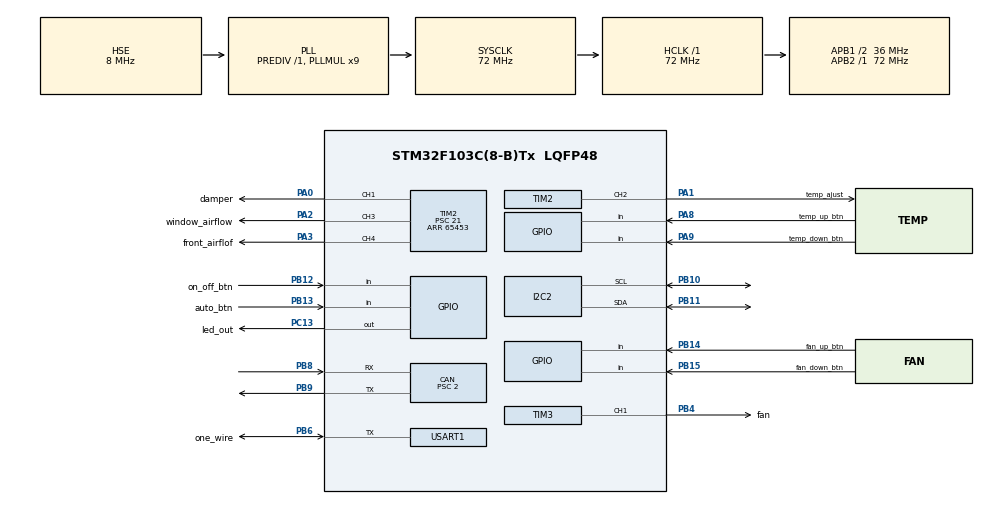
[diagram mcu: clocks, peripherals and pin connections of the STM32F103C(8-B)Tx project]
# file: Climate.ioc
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CAN.BS1=CAN_BS1_15TQ
CAN.BS2=CAN_BS2_2TQ
CAN.CalculateBaudRate=1000000
CAN.CalculateTimeBit=1000
CAN.CalculateTimeQuantum=55.55555555555556
CAN.Prescaler=2
FREERTOS.INCLUDE_uxTaskPriorityGet=0
FREERTOS.INCLUDE_vTaskDelete=0
FREERTOS.INCLUDE_xTaskResumeFromISR=1
FREERTOS.MEMORY_ALLOCATION=0
FREERTOS.Tasks01=defaultTask,0,128,ProctDefaultTask,Default,NULL,Dynamic,NULL,NULL;Display,0,256,ProctDisplay,Default,NULL,Dynamic,NULL,NULL;AnalogRead,0,128,ProctAnalogRead,Default,NULL,Dynamic,NULL,NULL;DigitalRead,0,128,ProctDigitalRead,Default,NULL,Dynamic,NULL,NULL;ButtonRead,0,128,ProctButtonRead,Default,NULL,Dynamic,NULL,NULL;Outputs,0,128,ProctOutputs,Default,NULL,Dynamic,NULL,NULL;IdleTask,0,256,ProctIdle,Default,NULL,Dynamic,NULL,NULL;Can,0,128,ProctCan,Default,NULL,Dynamic,NULL,NULL
FREERTOS.configGENERATE_RUN_TIME_STATS=1
FREERTOS.configMINIMAL_STACK_SIZE=64
FREERTOS.configTOTAL_HEAP_SIZE=10240
FREERTOS.configUSE_IDLE_HOOK=1
FREERTOS.configUSE_STATS_FORMATTING_FUNCTIONS=1
FREERTOS.configUSE_TRACE_FACILITY=1
I2C2.I2C_Mode=I2C_Fast
Mcu.Family=STM32F1
Mcu.Name=STM32F103C(8-B)Tx
Mcu.Package=LQFP48
NVIC.PriorityGroup=NVIC_PRIORITYGROUP_4
NVIC.TIM2_IRQn=true\:5\:0\:false\:false\:true\:true\:true\:true\:true
NVIC.TIM3_IRQn=true\:5\:0\:false\:false\:true\:true\:true\:true\:true
NVIC.TIM4_IRQn=true\:15\:0\:false\:false\:true\:false\:false\:true\:true
NVIC.TimeBase=TIM4_IRQn
NVIC.TimeBaseIP=TIM4
NVIC.USART1_IRQn=true\:5\:0\:false\:false\:true\:true\:true\:true\:true
NVIC.USB_LP_CAN1_RX0_IRQn=true\:5\:0\:false\:false\:true\:true\:true\:true\:true
PA0-WKUP.GPIO_Label=damper
PA0-WKUP.Signal=S_TIM2_CH1_ETR
PA1.GPIO_Label=temp_ajust
PA1.Signal=S_TIM2_CH2
PA13.Mode=Serial_Wire
PA13.Signal=SYS_JTMS-SWDIO
PA14.Mode=Serial_Wire
PA14.Signal=SYS_JTCK-SWCLK
PA2.GPIO_Label=window_airflow
PA2.Signal=S_TIM2_CH3
PA3.GPIO_Label=front_airflof
PA3.Signal=S_TIM2_CH4
PA8.GPIO_Label=temp_up_btn
PA8.GPIO_PuPd=GPIO_PULLUP
PA8.Signal=GPIO_Input
PA9.GPIO_Label=temp_down_btn
PA9.GPIO_PuPd=GPIO_PULLUP
PA9.Signal=GPIO_Input
PB10.Mode=I2C
PB10.Signal=I2C2_SCL
PB11.Mode=I2C
PB11.Signal=I2C2_SDA
PB12.GPIO_Label=on_off_btn
PB12.GPIO_PuPd=GPIO_PULLUP
PB12.Signal=GPIO_Input
PB13.GPIO_Label=auto_btn
PB13.GPIO_PuPd=GPIO_PULLUP
PB13.Signal=GPIO_Input
PB14.GPIO_Label=fan_up_btn
PB14.GPIO_PuPd=GPIO_PULLUP
PB14.Signal=GPIO_Input
PB15.GPIO_Label=fan_down_btn
PB15.GPIO_PuPd=GPIO_PULLUP
PB15.Signal=GPIO_Input
PB4.GPIO_Label=fan
PB4.GPIO_Speed=GPIO_SPEED_FREQ_HIGH
PB4.Signal=S_TIM3_CH1
PB6.GPIO_Label=one_wire
PB6.Mode=Half_duplex(single_wire_mode)
PB6.Signal=USART1_TX
PB8.Mode=CAN_Activate
PB8.Signal=CAN_RX
PB9.Mode=CAN_Activate
PB9.Signal=CAN_TX
PC13-TAMPER-RTC.GPIO_Label=led_out
PC13-TAMPER-RTC.GPIO_PuPd=GPIO_PULLUP
PC13-TAMPER-RTC.PinState=GPIO_PIN_SET
PC13-TAMPER-RTC.Signal=GPIO_Output
PD0-OSC_IN.Mode=HSE-External-Oscillator
PD0-OSC_IN.Signal=RCC_OSC_IN
PD1-OSC_OUT.Mode=HSE-External-Oscillator
PD1-OSC_OUT.Signal=RCC_OSC_OUT
ProjectManager.HeapSize=0x200
ProjectManager.StackSize=0x400
ProjectManager.TargetToolchain=MDK-ARM V5.32
RCC.ADCPresc=RCC_ADCPCLK2_DIV6
RCC.AHBFreq_Value=72000000
RCC.APB1CLKDivider=RCC_HCLK_DIV2
RCC.APB1Freq_Value=36000000
RCC.APB1TimFreq_Value=72000000
RCC.APB2Freq_Value=72000000
RCC.APB2TimFreq_Value=72000000
RCC.HCLKFreq_Value=72000000
RCC.PLLMUL=RCC_PLL_MUL9
RCC.PLLSourceVirtual=RCC_PLLSOURCE_HSE
RCC.SYSCLKFreq_VALUE=72000000
RCC.SYSCLKSource=RCC_SYSCLKSOURCE_PLLCLK
RCC.USBFreq_Value=72000000
SH.S_TIM2_CH1_ETR.0=TIM2_CH1,PWM Generation1 CH1
SH.S_TIM2_CH2.0=TIM2_CH2,PWM Generation2 CH2
SH.S_TIM2_CH3.0=TIM2_CH3,PWM Generation3 CH3
SH.S_TIM2_CH4.0=TIM2_CH4,PWM Generation4 CH4
SH.S_TIM3_CH1.0=TIM3_CH1,PWM Generation1 CH1
TIM2.Channel-PWM\ Generation1\ CH1=TIM_CHANNEL_1
TIM2.Channel-PWM\ Generation2\ CH2=TIM_CHANNEL_2
TIM2.Channel-PWM\ Generation3\ CH3=TIM_CHANNEL_3
TIM2.Channel-PWM\ Generation4\ CH4=TIM_CHANNEL_4
TIM2.Period=65453
TIM2.Prescaler=21
TIM3.Channel-PWM\ Generation1\ CH1=TIM_CHANNEL_1
TIM3.Period=255
TIM3.Prescaler=13
TIM3.Pulse-PWM\ Generation1\ CH1=127
TIM3.TIM_MasterOutputTrigger=TIM_TRGO_ENABLE
TIM3.TIM_MasterSlaveMode=TIM_MASTERSLAVEMODE_ENABLE
USART1.VirtualMode=VM_ASYNC
VP_FREERTOS_VS_CMSIS_V1.Mode=CMSIS_V1
VP_SYS_VS_tim4.Mode=TIM4
VP_TIM3_VS_ClockSourceINT.Mode=Internal
board=custom

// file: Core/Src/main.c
/* USER CODE BEGIN Header */
/**
  ******************************************************************************
  * @file           : main.c
  * @brief          : Main program body
  ******************************************************************************
  * @attention
  *
  * Copyright (c) 2023 STMicroelectronics.
  * All rights reserved.
  *
  * This software is licensed under terms that can be found in the LICENSE file
  * in the root directory of this software component.
  * If no LICENSE file comes with this software, it is provided AS-IS.
  *
  ******************************************************************************
  */
/* USER CODE END Header */
#include "main.h"
#include "cmsis_os.h"
#include "can.h"
#include "i2c.h"
#include "tim.h"
#include "usart.h"
#include "gpio.h"

/* USER CODE BEGIN Includes */
#include <stdio.h>
#include <stdbool.h>
#include <stdint.h>
#include "fonts.h"
#include "ssd1306.h"
#include "string.h"
#include "OneWire.h"
/* USER CODE END Includes */

/* USER CODE BEGIN PD */
#define btn_time 150

#define can_addr_door_fl 0x0001
#define can_addr_door_fr 0x0002
#define can_addr_climate 0x0006
/* USER CODE END PD */

/* USER CODE BEGIN PV */
CAN_TxHeaderTypeDef TxHeader;
CAN_RxHeaderTypeDef RxHeader;
uint8_t TxData[8] = {255, 255, 255, 255, 255, 255};
uint8_t RxData[8] = {255, 255, 255, 255, 255, 255};
uint32_t TxMailbox = 0;
bool Can_Rx = 0, Can_Tx = 0;

uint16_t pwm = 0, pwm_old = 0;
float temp_climate = 0;

uint8_t disp = 1;
char lcd1602_tx_buffer[40]; //глобальный буфер данных. В него записывается текст.
extern const uint8_t logo[1024];
extern float Temp[MAXDEVICES_ON_THE_BUS];

bool climate_state = 0, climate_auto_state = 0;

uint8_t damper_deg = 0;
/* USER CODE END PV */

void SystemClock_Config(void);
void MX_FREERTOS_Init(void);

/* USER CODE BEGIN 0 */
void HAL_CAN_RxFifo0MsgPendingCallback(CAN_HandleTypeDef *hcan)
{
	if(HAL_CAN_GetRxMessage(hcan, CAN_RX_FIFO0, &RxHeader, RxData) == HAL_OK)
  {
		if(RxHeader.StdId == can_addr_climate) //
    {
			Can_Rx = 1;
//			HAL_GPIO_TogglePin(GPIOC, GPIO_PIN_13);
//			snprintf(trans_str, 128, "ID %04lX %d\n", RxHeader.StdId, RxData[0]);
//  	  HAL_UART_Transmit(&huart1, (uint8_t*)trans_str, strlen(trans_str), 100);
    }
	}
}

void HAL_CAN_ErrorCallback(CAN_HandleTypeDef *hcan)
{
    uint32_t er = HAL_CAN_GetError(hcan);
//    sprintf(trans_str,"ER CAN %lu %08lX", er, er);
//    HAL_UART_Transmit(&huart1, (uint8_t*)trans_str, strlen(trans_str), 100);
}

/* USER CODE END 0 */

int main(void)
{

  /* MCU Configuration--------------------------------------------------------*/

  /* Reset of all peripherals, Initializes the Flash interface and the Systick. */
  HAL_Init();

  /* Configure the system clock */
  SystemClock_Config();

  /* Initialize all configured peripherals */
  MX_GPIO_Init();
  MX_TIM3_Init();
  MX_I2C2_Init();
  MX_CAN_Init();
  MX_TIM2_Init();
  MX_USART1_UART_Init();

  /* USER CODE BEGIN 2 */
	get_ROMid();

	TIM3->CCR1 = 0;
	TIM2->CCR1 = 7500;
	TIM2->CCR2 = 7500;
	TIM2->CCR3 = 7500;
	TIM2->CCR4 = 7500;
	HAL_TIM_PWM_Start(&htim3, TIM_CHANNEL_1);
	HAL_TIM_PWM_Start_IT(&htim2, TIM_CHANNEL_1);
	HAL_TIM_PWM_Start_IT(&htim2, TIM_CHANNEL_2);
	HAL_TIM_PWM_Start_IT(&htim2, TIM_CHANNEL_3);
	HAL_TIM_PWM_Start_IT(&htim2, TIM_CHANNEL_4);

	SSD1306_Init();

	SSD1306_DrawBitmap(0,0, logo,128, 64, 1);
	SSD1306_UpdateScreen();
	HAL_Delay(1000);
	SSD1306_Clear();
	SSD1306_UpdateScreen();

  /* USER CODE END 2 */

  /* Call init function for freertos objects (in freertos.c) */
  MX_FREERTOS_Init();

  /* Start scheduler */
  osKernelStart();

  /* We should never get here as control is now taken by the scheduler */
  /* Infinite loop */
  while (1)
  {

  }
}

void SystemClock_Config(void)
{
  RCC_OscInitTypeDef RCC_OscInitStruct = {0};
  RCC_ClkInitTypeDef RCC_ClkInitStruct = {0};

  /** Initializes the RCC Oscillators according to the specified parameters
  * in the RCC_OscInitTypeDef structure.
  */
  RCC_OscInitStruct.OscillatorType = RCC_OSCILLATORTYPE_HSE;
  RCC_OscInitStruct.HSEState = RCC_HSE_ON;
  RCC_OscInitStruct.HSEPredivValue = RCC_HSE_PREDIV_DIV1;
  RCC_OscInitStruct.HSIState = RCC_HSI_ON;
  RCC_OscInitStruct.PLL.PLLState = RCC_PLL_ON;
  RCC_OscInitStruct.PLL.PLLSource = RCC_PLLSOURCE_HSE;
  RCC_OscInitStruct.PLL.PLLMUL = RCC_PLL_MUL9;
  if (HAL_RCC_OscConfig(&RCC_OscInitStruct) != HAL_OK)
  {
    Error_Handler();
  }

  /** Initializes the CPU, AHB and APB buses clocks
  */
  RCC_ClkInitStruct.ClockType = RCC_CLOCKTYPE_HCLK|RCC_CLOCKTYPE_SYSCLK
                              |RCC_CLOCKTYPE_PCLK1|RCC_CLOCKTYPE_PCLK2;
  RCC_ClkInitStruct.SYSCLKSource = RCC_SYSCLKSOURCE_PLLCLK;
  RCC_ClkInitStruct.AHBCLKDivider = RCC_SYSCLK_DIV1;
  RCC_ClkInitStruct.APB1CLKDivider = RCC_HCLK_DIV2;
  RCC_ClkInitStruct.APB2CLKDivider = RCC_HCLK_DIV1;

  if (HAL_RCC_ClockConfig(&RCC_ClkInitStruct, FLASH_LATENCY_2) != HAL_OK)
  {
    Error_Handler();
  }
}

/* USER CODE BEGIN 4 */
void servo_deg(uint8_t deg) {
	deg >= 180 ? deg = 180 : deg;
	TIM2->CCR2 = 7500 - (deg * 35);
}

void climate_on_off()
{
	if(!climate_state) { climate_state = 1; TIM3->CCR1 = pwm; }
	else { climate_state = 0; TIM3->CCR1 = 0; }

//	while(HAL_CAN_GetTxMailboxesFreeLevel(&hcan) == 0);
//	if(HAL_CAN_AddTxMessage(&hcan, &TxHeader, TxData, &TxMailbox) != HAL_OK)
//  {
////		HAL_UART_Transmit(&huart1, (uint8_t*)"ER SEND\n", 8, 100);
//  }
//	RxData[0] = 255; //
//	TxData[0] = 255; //
}
void climate_auto_on_off()
{
	if(!climate_auto_state) climate_auto_state = 1;
	else climate_auto_state = 0;

//	while(HAL_CAN_GetTxMailboxesFreeLevel(&hcan) == 0);
//	if(HAL_CAN_AddTxMessage(&hcan, &TxHeader, TxData, &TxMailbox) != HAL_OK)
//  {
////		HAL_UART_Transmit(&huart1, (uint8_t*)"ER SEND\n", 8, 100);
//  }
//	RxData[0] = 255; //
//	TxData[0] = 255; //
}
/* USER CODE END 4 */

void HAL_TIM_PeriodElapsedCallback(TIM_HandleTypeDef *htim)
{
  if (htim->Instance == TIM4) {
    HAL_IncTick();
  }
}

void Error_Handler(void)
{
  __disable_irq();
  while (1)
  {
  }
}

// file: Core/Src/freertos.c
/* USER CODE BEGIN Header */
/**
  ******************************************************************************
  * File Name          : freertos.c
  * Description        : Code for freertos applications
  ******************************************************************************
  * @attention
  *
  * Copyright (c) 2023 STMicroelectronics.
  * All rights reserved.
  *
  * This software is licensed under terms that can be found in the LICENSE file
  * in the root directory of this software component.
  * If no LICENSE file comes with this software, it is provided AS-IS.
  *
  ******************************************************************************
  */
/* USER CODE END Header */

#include "FreeRTOS.h"
#include "task.h"
#include "main.h"
#include "cmsis_os.h"

/* USER CODE BEGIN Includes */
#include <stdio.h>
#include <stdbool.h>
#include <stdint.h>
#include "fonts.h"
#include "ssd1306.h"
#include "string.h"
#include "OneWire.h"

extern uint8_t disp;

extern CAN_TxHeaderTypeDef TxHeader;
extern CAN_RxHeaderTypeDef RxHeader;
extern uint8_t TxData[8];
extern uint8_t RxData[8];
extern uint32_t TxMailbox;
extern bool Can_Rx, Can_Tx;

extern char lcd1602_tx_buffer[40];
extern float Temp[MAXDEVICES_ON_THE_BUS];
extern uint16_t pwm, pwm_old;
extern float temp_climate;

extern bool climate_state, climate_auto_state;
extern void climate_on_off();
extern void climate_auto_on_off();

extern void servo_deg(uint8_t deg);
extern uint8_t damper_deg;

bool a = 0;
/* USER CODE END Includes */

osThreadId defaultTaskHandle;
osThreadId DisplayHandle;
osThreadId AnalogReadHandle;
osThreadId DigitalReadHandle;
osThreadId ButtonReadHandle;
osThreadId OutputsHandle;
osThreadId IdleTaskHandle;
osThreadId CanHandle;

void ProctDefaultTask(void const * argument);
void ProctDisplay(void const * argument);
void ProctAnalogRead(void const * argument);
void ProctDigitalRead(void const * argument);
void ProctButtonRead(void const * argument);
void ProctOutputs(void const * argument);
void ProctIdle(void const * argument);
void ProctCan(void const * argument);

void MX_FREERTOS_Init(void); /* (MISRA C 2004 rule 8.1) */

/* Hook prototypes */
void configureTimerForRunTimeStats(void);
unsigned long getRunTimeCounterValue(void);
void vApplicationIdleHook(void);

/* USER CODE BEGIN 1 */
/* Functions needed when configGENERATE_RUN_TIME_STATS is on */
__weak void configureTimerForRunTimeStats(void)
{

}

__weak unsigned long getRunTimeCounterValue(void)
{
return 0;
}
/* USER CODE END 1 */

/* USER CODE BEGIN 2 */
__weak void vApplicationIdleHook( void )
{
   /* vApplicationIdleHook() will only be called if configUSE_IDLE_HOOK is set
   to 1 in FreeRTOSConfig.h. It will be called on each iteration of the idle
   task. It is essential that code added to this hook function never attempts
   to block in any way (for example, call xQueueReceive() with a block time
   specified, or call vTaskDelay()). If the application makes use of the
   vTaskDelete() API function (as this demo application does) then it is also
   important that vApplicationIdleHook() is permitted to return to its calling
   function, because it is the responsibility of the idle task to clean up
   memory allocated by the kernel to any task that has since been deleted. */
}
/* USER CODE END 2 */

void MX_FREERTOS_Init(void) {

  /* Create the thread(s) */
  /* definition and creation of defaultTask */
  osThreadDef(defaultTask, ProctDefaultTask, osPriorityNormal, 0, 128);
  defaultTaskHandle = osThreadCreate(osThread(defaultTask), NULL);

  /* definition and creation of Display */
  osThreadDef(Display, ProctDisplay, osPriorityNormal, 0, 256);
  DisplayHandle = osThreadCreate(osThread(Display), NULL);

  /* definition and creation of AnalogRead */
  osThreadDef(AnalogRead, ProctAnalogRead, osPriorityNormal, 0, 128);
  AnalogReadHandle = osThreadCreate(osThread(AnalogRead), NULL);

  /* definition and creation of DigitalRead */
  osThreadDef(DigitalRead, ProctDigitalRead, osPriorityNormal, 0, 128);
  DigitalReadHandle = osThreadCreate(osThread(DigitalRead), NULL);

  /* definition and creation of ButtonRead */
  osThreadDef(ButtonRead, ProctButtonRead, osPriorityNormal, 0, 128);
  ButtonReadHandle = osThreadCreate(osThread(ButtonRead), NULL);

  /* definition and creation of Outputs */
  osThreadDef(Outputs, ProctOutputs, osPriorityNormal, 0, 128);
  OutputsHandle = osThreadCreate(osThread(Outputs), NULL);

  /* definition and creation of IdleTask */
  osThreadDef(IdleTask, ProctIdle, osPriorityNormal, 0, 256);
  IdleTaskHandle = osThreadCreate(osThread(IdleTask), NULL);

  /* definition and creation of Can */
  osThreadDef(Can, ProctCan, osPriorityNormal, 0, 128);
  CanHandle = osThreadCreate(osThread(Can), NULL);

}

void ProctDefaultTask(void const * argument)
{
  for(;;)
  {
    osDelay(1);
  }
}

void ProctDisplay(void const * argument)
{
  /* USER CODE BEGIN ProctDisplay */
  /* Infinite loop */
  for(;;)
  {
		SSD1306_GotoXY (0,0);
		if(!a){
			sprintf(lcd1602_tx_buffer, "T1   %4.1f C ", Temp[0]);
		}
		else{
			sprintf(lcd1602_tx_buffer, "T2   %4.1f C ", Temp[1]);
		}
		SSD1306_Puts (lcd1602_tx_buffer, &Font_11x18, 1);
		SSD1306_GotoXY (0,18);
		if(climate_auto_state) sprintf(lcd1602_tx_buffer, "TU A %4.1f C ", temp_climate);
		else sprintf(lcd1602_tx_buffer, "TU M %4.1f C ", temp_climate);
		SSD1306_Puts (lcd1602_tx_buffer, &Font_11x18, 1);
		SSD1306_GotoXY (0,36);
		sprintf(lcd1602_tx_buffer, "Fan1   %4d", pwm);
		SSD1306_Puts (lcd1602_tx_buffer, &Font_11x18, 1);
		SSD1306_UpdateScreen();
		osDelay(125);
    osDelay(1);
  }
  /* USER CODE END ProctDisplay */
}

void ProctAnalogRead(void const * argument)
{
  for(;;)
  {
    osDelay(1);
  }
}

void ProctDigitalRead(void const * argument)
{
  /* USER CODE BEGIN ProctDigitalRead */
  /* Infinite loop */
  for(;;)
  {
		if(climate_state){
//			GPIOC->BRR = led_out_Pin;
			a = 1;
//			servo_deg(0);
			osDelay(1000);
//			GPIOC->BSRR = led_out_Pin;
			a = 0;
//			servo_deg(140);
			osDelay(1000);

			get_Temperature();
		}
    osDelay(1);
  }
  /* USER CODE END ProctDigitalRead */
}

void ProctButtonRead(void const * argument)
{
  /* USER CODE BEGIN ProctButtonRead */
  /* Infinite loop */
  for(;;)
  {
		if(!(GPIOB->IDR &on_off_btn_Pin)) { // кнопка on_off Климата
			climate_on_off();
			while(!(GPIOB->IDR &on_off_btn_Pin)) osDelay(10);
		}
		if(!(GPIOB->IDR &auto_btn_Pin) && climate_state) { // кнопка auto Климата
			climate_auto_on_off();
			while(!(GPIOB->IDR &auto_btn_Pin)) osDelay(10);
		}

		if(!(GPIOB->IDR &fan_up_btn_Pin) && climate_state) { // кнопка + вентилятора Климата
			if(pwm<10) pwm++;
			while(!(GPIOB->IDR &fan_up_btn_Pin)) osDelay(10);
		}
		if(!(GPIOB->IDR &fan_down_btn_Pin) && climate_state) { // кнопка - вентилятора Климата
			if(pwm>0)	pwm--;
			while(!(GPIOB->IDR &fan_down_btn_Pin)) osDelay(10);
		}

		if(!(GPIOA->IDR &temp_up_btn_Pin)) { // кнопка + температуры Климата
			if(temp_climate<80){
				temp_climate+=0.5;
//				servo_deg(45+temp_climate);
			}
			while(!(GPIOA->IDR &temp_up_btn_Pin)) osDelay(10);
		}
		if(!(GPIOA->IDR &temp_down_btn_Pin)) { // кнопка - температуры Климата
			if(temp_climate>=0.5){
				temp_climate-=0.5;
//				servo_deg(45+temp_climate);
			}
			while(!(GPIOA->IDR &temp_down_btn_Pin)) osDelay(10);
		}
		osDelay(100);
  }
  /* USER CODE END ProctButtonRead */
}

void ProctOutputs(void const * argument)
{
  /* USER CODE BEGIN ProctOutputs */
  /* Infinite loop */
  for(;;)
  {
		if(climate_state){
			if(pwm != pwm_old){
				if(pwm==10) TIM3->CCR1 = pwm*25+5;
				else TIM3->CCR1 = pwm*25;
//				TIM3->CCR2 = pwm;
				pwm_old = pwm;
			}

			if(climate_auto_state){
				if(Temp[1] > temp_climate){
					if(damper_deg > 0){
						damper_deg--;
						servo_deg(damper_deg);
					}
				}
				else{
					if(damper_deg < 180){
						damper_deg++;
						servo_deg(damper_deg);
					}
				}
				osDelay(3000);
			}
		}
    osDelay(100);
  }
  /* USER CODE END ProctOutputs */
}

void ProctIdle(void const * argument)
{
  for(;;)
  {
    osDelay(1);
  }
}

void ProctCan(void const * argument)
{
  /* USER CODE BEGIN ProctCan */
  /* Infinite loop */
  for(;;)
  {
		if(Can_Rx){ //добавил if проверю как работает
			Can_Rx = 0;
//			if(RxData[2] != 255){
//				switch (RxData[2])
//				{
//					case 10: RxData[2] = 255; mirror_heating_off();
//						break;
//					case 11: RxData[2] = 255; mirror_heating_on();
//						break;
//	//				default:
//	//					break;
//				}
//			}
		}

//		if(Can_Tx){
//			while(HAL_CAN_GetTxMailboxesFreeLevel(&hcan) == 0);
//			if(HAL_CAN_AddTxMessage(&hcan, &TxHeader, TxData, &TxMailbox) != HAL_OK)
//			{
//		//		HAL_UART_Transmit(&huart1, (uint8_t*)"ER SEND\n", 8, 100);
//			}
//			TxData[0] = 255;
//			TxData[1] = 255;
//			TxData[2] = 255;
//			Can_Tx = 0;
//		}
	  osDelay(10);
  }
  /* USER CODE END ProctCan */
}
